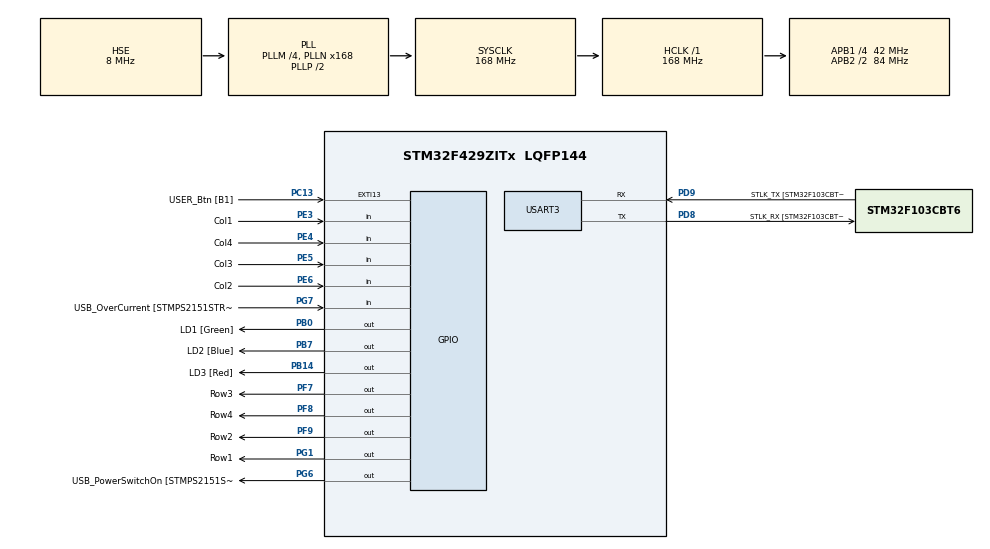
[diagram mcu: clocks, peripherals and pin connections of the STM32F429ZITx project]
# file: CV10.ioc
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Mcu.Family=STM32F4
Mcu.Name=STM32F429ZITx
Mcu.Package=LQFP144
NVIC.PriorityGroup=NVIC_PRIORITYGROUP_4
NVIC.TIM3_IRQn=true\:0\:0\:false\:false\:true\:true\:true\:true
PA1.GPIO_Label=RMII_REF_CLK [LAN8742A-CZ-TR_REFCLK0]
PA1.Signal=ETH_REF_CLK
PA10.GPIO_Label=USB_ID
PA10.Signal=USB_OTG_FS_ID
PA11.GPIO_Label=USB_DM
PA11.Signal=USB_OTG_FS_DM
PA12.GPIO_Label=USB_DP
PA12.Signal=USB_OTG_FS_DP
PA13.GPIO_Label=TMS
PA13.Mode=Serial_Wire
PA13.Signal=SYS_JTMS-SWDIO
PA14.GPIO_Label=TCK
PA14.Mode=Serial_Wire
PA14.Signal=SYS_JTCK-SWCLK
PA2.GPIO_Label=RMII_MDIO [LAN8742A-CZ-TR_MDIO]
PA2.Signal=ETH_MDIO
PA7.GPIO_Label=RMII_CRS_DV [LAN8742A-CZ-TR_CRS_DV]
PA7.Signal=ETH_CRS_DV
PA8.GPIO_Label=USB_SOF [TP1]
PA8.Signal=USB_OTG_FS_SOF
PA9.GPIO_Label=USB_VBUS
PA9.Signal=USB_OTG_FS_VBUS
PB0.GPIO_Label=LD1 [Green]
PB0.Signal=GPIO_Output
PB13.GPIO_Label=RMII_TXD1 [LAN8742A-CZ-TR_TXD1]
PB13.Signal=ETH_TXD1
PB14.GPIO_Label=LD3 [Red]
PB14.Signal=GPIO_Output
PB7.GPIO_Label=LD2 [Blue]
PB7.Signal=GPIO_Output
PC1.GPIO_Label=RMII_MDC [LAN8742A-CZ-TR_MDC]
PC1.Signal=ETH_MDC
PC13.GPIO_Label=USER_Btn [B1]
PC13.Signal=GPXTI13
PC14/OSC32_IN.Mode=LSE-External-Oscillator
PC14/OSC32_IN.Signal=RCC_OSC32_IN
PC15/OSC32_OUT.Mode=LSE-External-Oscillator
PC15/OSC32_OUT.Signal=RCC_OSC32_OUT
PC4.GPIO_Label=RMII_RXD0 [LAN8742A-CZ-TR_RXD0]
PC4.Signal=ETH_RXD0
PC5.GPIO_Label=RMII_RXD1 [LAN8742A-CZ-TR_RXD1]
PC5.Signal=ETH_RXD1
PD8.GPIO_Label=STLK_RX [STM32F103CBT6_PA3]
PD8.Mode=Asynchronous
PD8.Signal=USART3_TX
PD9.GPIO_Label=STLK_TX [STM32F103CBT6_PA2]
PD9.Mode=Asynchronous
PD9.Signal=USART3_RX
PE3.GPIO_Label=Col1
PE3.GPIO_PuPd=GPIO_PULLUP
PE3.Signal=GPIO_Input
PE4.GPIO_Label=Col4
PE4.GPIO_PuPd=GPIO_PULLUP
PE4.Signal=GPIO_Input
PE5.GPIO_Label=Col3
PE5.GPIO_PuPd=GPIO_PULLUP
PE5.Signal=GPIO_Input
PE6.GPIO_Label=Col2
PE6.GPIO_PuPd=GPIO_PULLUP
PE6.Signal=GPIO_Input
PF7.GPIO_Label=Row3
PF7.GPIO_ModeDefaultOutputPP=GPIO_MODE_OUTPUT_OD
PF7.GPIO_PuPd=GPIO_NOPULL
PF7.Signal=GPIO_Output
PF8.GPIO_Label=Row4
PF8.GPIO_ModeDefaultOutputPP=GPIO_MODE_OUTPUT_OD
PF8.GPIO_PuPd=GPIO_NOPULL
PF8.Signal=GPIO_Output
PF9.GPIO_Label=Row2
PF9.GPIO_ModeDefaultOutputPP=GPIO_MODE_OUTPUT_OD
PF9.GPIO_PuPd=GPIO_NOPULL
PF9.Signal=GPIO_Output
PG1.GPIO_Label=Row1
PG1.GPIO_ModeDefaultOutputPP=GPIO_MODE_OUTPUT_OD
PG1.GPIO_PuPd=GPIO_NOPULL
PG1.Signal=GPIO_Output
PG11.GPIO_Label=RMII_TX_EN [LAN8742A-CZ-TR_TXEN]
PG11.Signal=ETH_TX_EN
PG13.GPIO_Label=RMII_TXD0 [LAN8742A-CZ-TR_TXD0]
PG13.Signal=ETH_TXD0
PG6.GPIO_Label=USB_PowerSwitchOn [STMPS2151STR_EN]
PG6.Signal=GPIO_Output
PG7.GPIO_Label=USB_OverCurrent [STMPS2151STR_FAULT]
PG7.Signal=GPIO_Input
PH0/OSC_IN.GPIO_Label=MCO [STM32F103CBT6_PA8]
PH0/OSC_IN.Mode=HSE-External-Clock-Source
PH0/OSC_IN.Signal=RCC_OSC_IN
PH1/OSC_OUT.Mode=HSE-External-Clock-Source
PH1/OSC_OUT.Signal=RCC_OSC_OUT
ProjectManager.HeapSize=0x200
ProjectManager.StackSize=0x400
ProjectManager.TargetToolchain=STM32CubeIDE
RCC.48MHZClocksFreq_Value=48000000
RCC.AHBFreq_Value=168000000
RCC.APB1CLKDivider=RCC_HCLK_DIV4
RCC.APB1Freq_Value=42000000
RCC.APB1TimFreq_Value=84000000
RCC.APB2CLKDivider=RCC_HCLK_DIV2
RCC.APB2Freq_Value=84000000
RCC.APB2TimCLKDivider=2
RCC.APB2TimFreq_Value=168000000
RCC.CortexFreq_Value=168000000
RCC.HCLKFreq_Value=168000000
RCC.HSE_VALUE=8000000
RCC.HSI_VALUE=16000000
RCC.PLLM=4
RCC.PLLMUL=RCC_PLL_MUL9
RCC.PLLN=168
RCC.PLLQ=7
RCC.PLLSourceVirtual=RCC_PLLSOURCE_HSE
RCC.PRESCALERUSB=RCC_USBCLKSOURCE_PLL_DIV1_5
RCC.SYSCLKFreq_VALUE=168000000
RCC.SYSCLKSource=RCC_SYSCLKSOURCE_PLLCLK
RCC.SYSCLKSourceVirtual=RCC_SYSCLKSOURCE_PLLCLK
RCC.USBFreq_Value=48000000
RCC.VCOOutputFreq_Value=336000000
TIM3.Period=99
TIM3.Prescaler=8399
USART3.VirtualMode=VM_ASYNC
VP_TIM3_VS_ClockSourceINT.Mode=Internal
board=NUCLEO-F429ZI

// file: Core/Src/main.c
/* USER CODE BEGIN Header */
/**
  ******************************************************************************
  * @file           : main.c
  * @brief          : Main program body
  ******************************************************************************
  * @attention
  *
  * Copyright (c) 2024 STMicroelectronics.
  * All rights reserved.
  *
  * This software is licensed under terms that can be found in the LICENSE file
  * in the root directory of this software component.
  * If no LICENSE file comes with this software, it is provided AS-IS.
  *
  ******************************************************************************
  */
/* USER CODE END Header */
#include "main.h"

/* USER CODE BEGIN Includes */
#include <stdio.h>
/* USER CODE END Includes */

TIM_HandleTypeDef htim3;

UART_HandleTypeDef huart3;

/* USER CODE BEGIN PV */
static volatile char key;

/* USER CODE END PV */

void SystemClock_Config(void);
static void MX_GPIO_Init(void);
static void MX_USART3_UART_Init(void);
static void MX_TIM3_Init(void);

/* USER CODE BEGIN 0 */
int __io_putchar(int ch)
{
ITM_SendChar(ch);
return 0;
}
/* USER CODE END 0 */

int main(void)
{

  /* USER CODE BEGIN 1 */
	static const char password[] = { '7', '9', '3', '2', '#' };
	static uint8_t passwordIndex;
	static uint32_t lastTickPress;
  /* USER CODE END 1 */

  /* MCU Configuration--------------------------------------------------------*/

  /* Reset of all peripherals, Initializes the Flash interface and the Systick. */
  HAL_Init();

  /* Configure the system clock */
  SystemClock_Config();

  /* Initialize all configured peripherals */
  MX_GPIO_Init();
  MX_USART3_UART_Init();
  MX_TIM3_Init();
  /* USER CODE BEGIN 2 */
  HAL_TIM_Base_Start_IT(&htim3);
  /* USER CODE END 2 */

  /* Infinite loop */
  /* USER CODE BEGIN WHILE */
  while (1)
  {
		if (key != 0)
		{
			lastTickPress = HAL_GetTick();
			printf("pressed '%c'\n", key);

			if (key == password[passwordIndex])
			{
				//correct key entry in sequence
				passwordIndex++;
			}
			else
			{
				//incorrect key entry in sequence
				passwordIndex = 0;
			}

			if (passwordIndex == sizeof(password))
			{
				//unlocked
				printf("Unlocked\n");
				passwordIndex = 0;
				HAL_GPIO_TogglePin(LD3_GPIO_Port, LD3_Pin);
			}

			HAL_Delay(500);
			key = 0;
		}

		if(lastTickPress + 3000 < HAL_GetTick() && passwordIndex != 0)
		{
			passwordIndex = 0;
			printf("Password entry timeout\n");
		}

    /* USER CODE END WHILE */

  }
}

void SystemClock_Config(void)
{
  RCC_OscInitTypeDef RCC_OscInitStruct = {0};
  RCC_ClkInitTypeDef RCC_ClkInitStruct = {0};

  /** Configure the main internal regulator output voltage
  */
  __HAL_RCC_PWR_CLK_ENABLE();
  __HAL_PWR_VOLTAGESCALING_CONFIG(PWR_REGULATOR_VOLTAGE_SCALE1);

  /** Initializes the RCC Oscillators according to the specified parameters
  * in the RCC_OscInitTypeDef structure.
  */
  RCC_OscInitStruct.OscillatorType = RCC_OSCILLATORTYPE_HSE;
  RCC_OscInitStruct.HSEState = RCC_HSE_BYPASS;
  RCC_OscInitStruct.PLL.PLLState = RCC_PLL_ON;
  RCC_OscInitStruct.PLL.PLLSource = RCC_PLLSOURCE_HSE;
  RCC_OscInitStruct.PLL.PLLM = 4;
  RCC_OscInitStruct.PLL.PLLN = 168;
  RCC_OscInitStruct.PLL.PLLP = RCC_PLLP_DIV2;
  RCC_OscInitStruct.PLL.PLLQ = 7;
  if (HAL_RCC_OscConfig(&RCC_OscInitStruct) != HAL_OK)
  {
    Error_Handler();
  }

  /** Initializes the CPU, AHB and APB buses clocks
  */
  RCC_ClkInitStruct.ClockType = RCC_CLOCKTYPE_HCLK|RCC_CLOCKTYPE_SYSCLK
                              |RCC_CLOCKTYPE_PCLK1|RCC_CLOCKTYPE_PCLK2;
  RCC_ClkInitStruct.SYSCLKSource = RCC_SYSCLKSOURCE_PLLCLK;
  RCC_ClkInitStruct.AHBCLKDivider = RCC_SYSCLK_DIV1;
  RCC_ClkInitStruct.APB1CLKDivider = RCC_HCLK_DIV4;
  RCC_ClkInitStruct.APB2CLKDivider = RCC_HCLK_DIV2;

  if (HAL_RCC_ClockConfig(&RCC_ClkInitStruct, FLASH_LATENCY_5) != HAL_OK)
  {
    Error_Handler();
  }
}

static void MX_TIM3_Init(void)
{

  TIM_ClockConfigTypeDef sClockSourceConfig = {0};
  TIM_MasterConfigTypeDef sMasterConfig = {0};

  htim3.Instance = TIM3;
  htim3.Init.Prescaler = 8399;
  htim3.Init.CounterMode = TIM_COUNTERMODE_UP;
  htim3.Init.Period = 99;
  htim3.Init.ClockDivision = TIM_CLOCKDIVISION_DIV1;
  htim3.Init.AutoReloadPreload = TIM_AUTORELOAD_PRELOAD_DISABLE;
  if (HAL_TIM_Base_Init(&htim3) != HAL_OK)
  {
    Error_Handler();
  }
  sClockSourceConfig.ClockSource = TIM_CLOCKSOURCE_INTERNAL;
  if (HAL_TIM_ConfigClockSource(&htim3, &sClockSourceConfig) != HAL_OK)
  {
    Error_Handler();
  }
  sMasterConfig.MasterOutputTrigger = TIM_TRGO_RESET;
  sMasterConfig.MasterSlaveMode = TIM_MASTERSLAVEMODE_DISABLE;
  if (HAL_TIMEx_MasterConfigSynchronization(&htim3, &sMasterConfig) != HAL_OK)
  {
    Error_Handler();
  }

}

static void MX_USART3_UART_Init(void)
{

  huart3.Instance = USART3;
  huart3.Init.BaudRate = 115200;
  huart3.Init.WordLength = UART_WORDLENGTH_8B;
  huart3.Init.StopBits = UART_STOPBITS_1;
  huart3.Init.Parity = UART_PARITY_NONE;
  huart3.Init.Mode = UART_MODE_TX_RX;
  huart3.Init.HwFlowCtl = UART_HWCONTROL_NONE;
  huart3.Init.OverSampling = UART_OVERSAMPLING_16;
  if (HAL_UART_Init(&huart3) != HAL_OK)
  {
    Error_Handler();
  }

}

static void MX_GPIO_Init(void)
{
  GPIO_InitTypeDef GPIO_InitStruct = {0};

  /* GPIO Ports Clock Enable */
  __HAL_RCC_GPIOE_CLK_ENABLE();
  __HAL_RCC_GPIOC_CLK_ENABLE();
  __HAL_RCC_GPIOF_CLK_ENABLE();
  __HAL_RCC_GPIOH_CLK_ENABLE();
  __HAL_RCC_GPIOA_CLK_ENABLE();
  __HAL_RCC_GPIOB_CLK_ENABLE();
  __HAL_RCC_GPIOG_CLK_ENABLE();
  __HAL_RCC_GPIOD_CLK_ENABLE();

  /*Configure GPIO pin Output Level */
  HAL_GPIO_WritePin(GPIOF, Row3_Pin|Row4_Pin|Row2_Pin, GPIO_PIN_RESET);

  /*Configure GPIO pin Output Level */
  HAL_GPIO_WritePin(GPIOB, LD1_Pin|LD3_Pin|LD2_Pin, GPIO_PIN_RESET);

  /*Configure GPIO pin Output Level */
  HAL_GPIO_WritePin(GPIOG, Row1_Pin|USB_PowerSwitchOn_Pin, GPIO_PIN_RESET);

  /*Configure GPIO pins : Col1_Pin Col4_Pin Col3_Pin Col2_Pin */
  GPIO_InitStruct.Pin = Col1_Pin|Col4_Pin|Col3_Pin|Col2_Pin;
  GPIO_InitStruct.Mode = GPIO_MODE_INPUT;
  GPIO_InitStruct.Pull = GPIO_PULLUP;
  HAL_GPIO_Init(GPIOE, &GPIO_InitStruct);

  /*Configure GPIO pin : USER_Btn_Pin */
  GPIO_InitStruct.Pin = USER_Btn_Pin;
  GPIO_InitStruct.Mode = GPIO_MODE_IT_RISING;
  GPIO_InitStruct.Pull = GPIO_NOPULL;
  HAL_GPIO_Init(USER_Btn_GPIO_Port, &GPIO_InitStruct);

  /*Configure GPIO pins : Row3_Pin Row4_Pin Row2_Pin */
  GPIO_InitStruct.Pin = Row3_Pin|Row4_Pin|Row2_Pin;
  GPIO_InitStruct.Mode = GPIO_MODE_OUTPUT_OD;
  GPIO_InitStruct.Pull = GPIO_NOPULL;
  GPIO_InitStruct.Speed = GPIO_SPEED_FREQ_LOW;
  HAL_GPIO_Init(GPIOF, &GPIO_InitStruct);

  /*Configure GPIO pins : RMII_MDC_Pin RMII_RXD0_Pin RMII_RXD1_Pin */
  GPIO_InitStruct.Pin = RMII_MDC_Pin|RMII_RXD0_Pin|RMII_RXD1_Pin;
  GPIO_InitStruct.Mode = GPIO_MODE_AF_PP;
  GPIO_InitStruct.Pull = GPIO_NOPULL;
  GPIO_InitStruct.Speed = GPIO_SPEED_FREQ_VERY_HIGH;
  GPIO_InitStruct.Alternate = GPIO_AF11_ETH;
  HAL_GPIO_Init(GPIOC, &GPIO_InitStruct);

  /*Configure GPIO pins : RMII_REF_CLK_Pin RMII_MDIO_Pin RMII_CRS_DV_Pin */
  GPIO_InitStruct.Pin = RMII_REF_CLK_Pin|RMII_MDIO_Pin|RMII_CRS_DV_Pin;
  GPIO_InitStruct.Mode = GPIO_MODE_AF_PP;
  GPIO_InitStruct.Pull = GPIO_NOPULL;
  GPIO_InitStruct.Speed = GPIO_SPEED_FREQ_VERY_HIGH;
  GPIO_InitStruct.Alternate = GPIO_AF11_ETH;
  HAL_GPIO_Init(GPIOA, &GPIO_InitStruct);

  /*Configure GPIO pins : LD1_Pin LD3_Pin LD2_Pin */
  GPIO_InitStruct.Pin = LD1_Pin|LD3_Pin|LD2_Pin;
  GPIO_InitStruct.Mode = GPIO_MODE_OUTPUT_PP;
  GPIO_InitStruct.Pull = GPIO_NOPULL;
  GPIO_InitStruct.Speed = GPIO_SPEED_FREQ_LOW;
  HAL_GPIO_Init(GPIOB, &GPIO_InitStruct);

  /*Configure GPIO pin : Row1_Pin */
  GPIO_InitStruct.Pin = Row1_Pin;
  GPIO_InitStruct.Mode = GPIO_MODE_OUTPUT_OD;
  GPIO_InitStruct.Pull = GPIO_NOPULL;
  GPIO_InitStruct.Speed = GPIO_SPEED_FREQ_LOW;
  HAL_GPIO_Init(Row1_GPIO_Port, &GPIO_InitStruct);

  /*Configure GPIO pin : RMII_TXD1_Pin */
  GPIO_InitStruct.Pin = RMII_TXD1_Pin;
  GPIO_InitStruct.Mode = GPIO_MODE_AF_PP;
  GPIO_InitStruct.Pull = GPIO_NOPULL;
  GPIO_InitStruct.Speed = GPIO_SPEED_FREQ_VERY_HIGH;
  GPIO_InitStruct.Alternate = GPIO_AF11_ETH;
  HAL_GPIO_Init(RMII_TXD1_GPIO_Port, &GPIO_InitStruct);

  /*Configure GPIO pin : USB_PowerSwitchOn_Pin */
  GPIO_InitStruct.Pin = USB_PowerSwitchOn_Pin;
  GPIO_InitStruct.Mode = GPIO_MODE_OUTPUT_PP;
  GPIO_InitStruct.Pull = GPIO_NOPULL;
  GPIO_InitStruct.Speed = GPIO_SPEED_FREQ_LOW;
  HAL_GPIO_Init(USB_PowerSwitchOn_GPIO_Port, &GPIO_InitStruct);

  /*Configure GPIO pin : USB_OverCurrent_Pin */
  GPIO_InitStruct.Pin = USB_OverCurrent_Pin;
  GPIO_InitStruct.Mode = GPIO_MODE_INPUT;
  GPIO_InitStruct.Pull = GPIO_NOPULL;
  HAL_GPIO_Init(USB_OverCurrent_GPIO_Port, &GPIO_InitStruct);

  /*Configure GPIO pins : USB_SOF_Pin USB_ID_Pin USB_DM_Pin USB_DP_Pin */
  GPIO_InitStruct.Pin = USB_SOF_Pin|USB_ID_Pin|USB_DM_Pin|USB_DP_Pin;
  GPIO_InitStruct.Mode = GPIO_MODE_AF_PP;
  GPIO_InitStruct.Pull = GPIO_NOPULL;
  GPIO_InitStruct.Speed = GPIO_SPEED_FREQ_VERY_HIGH;
  GPIO_InitStruct.Alternate = GPIO_AF10_OTG_FS;
  HAL_GPIO_Init(GPIOA, &GPIO_InitStruct);

  /*Configure GPIO pin : USB_VBUS_Pin */
  GPIO_InitStruct.Pin = USB_VBUS_Pin;
  GPIO_InitStruct.Mode = GPIO_MODE_INPUT;
  GPIO_InitStruct.Pull = GPIO_NOPULL;
  HAL_GPIO_Init(USB_VBUS_GPIO_Port, &GPIO_InitStruct);

  /*Configure GPIO pins : RMII_TX_EN_Pin RMII_TXD0_Pin */
  GPIO_InitStruct.Pin = RMII_TX_EN_Pin|RMII_TXD0_Pin;
  GPIO_InitStruct.Mode = GPIO_MODE_AF_PP;
  GPIO_InitStruct.Pull = GPIO_NOPULL;
  GPIO_InitStruct.Speed = GPIO_SPEED_FREQ_VERY_HIGH;
  GPIO_InitStruct.Alternate = GPIO_AF11_ETH;
  HAL_GPIO_Init(GPIOG, &GPIO_InitStruct);

}

/* USER CODE BEGIN 4 */
void HAL_TIM_PeriodElapsedCallback(TIM_HandleTypeDef *htim)
{
	static uint8_t row = 0;
	static const char keyboard[4][4] =
	{
			{ '1', '2', '3', 'A' },
			{ '4', '5', '6', 'B' },
			{ '7', '8', '9', 'C' },
			{ '*', '0', '#', 'D' },
	};
	if (key == 0)
	{
		if (HAL_GPIO_ReadPin(Col1_GPIO_Port, Col1_Pin) == GPIO_PIN_RESET)
		{
			key = keyboard[row][0];
		}
		if (HAL_GPIO_ReadPin(Col2_GPIO_Port, Col2_Pin) == GPIO_PIN_RESET)
		{
			key = keyboard[row][1];
		}
		if (HAL_GPIO_ReadPin(Col3_GPIO_Port, Col3_Pin) == GPIO_PIN_RESET)
		{
			key = keyboard[row][2];
		}
		if (HAL_GPIO_ReadPin(Col4_GPIO_Port, Col4_Pin) == GPIO_PIN_RESET)
		{
			key = keyboard[row][3];
		}
	}
	HAL_GPIO_WritePin(Row1_GPIO_Port, Row1_Pin, GPIO_PIN_SET);
	HAL_GPIO_WritePin(Row2_GPIO_Port, Row2_Pin, GPIO_PIN_SET);
	HAL_GPIO_WritePin(Row3_GPIO_Port, Row3_Pin, GPIO_PIN_SET);
	HAL_GPIO_WritePin(Row4_GPIO_Port, Row4_Pin, GPIO_PIN_SET);
	switch (row)
	{
	case 0:
		row = 1;
		HAL_GPIO_WritePin(Row2_GPIO_Port, Row2_Pin, GPIO_PIN_RESET);
		break;
	case 1:
		row = 2;
		HAL_GPIO_WritePin(Row3_GPIO_Port, Row3_Pin, GPIO_PIN_RESET);
		break;
	case 2:
		row = 3;
		HAL_GPIO_WritePin(Row4_GPIO_Port, Row4_Pin, GPIO_PIN_RESET);
		break;
	case 3:
		row = 0;
		HAL_GPIO_WritePin(Row1_GPIO_Port, Row1_Pin, GPIO_PIN_RESET);
		break;

	}
}

/* USER CODE END 4 */

void Error_Handler(void)
{
  __disable_irq();
  while (1)
  {
  }
}
